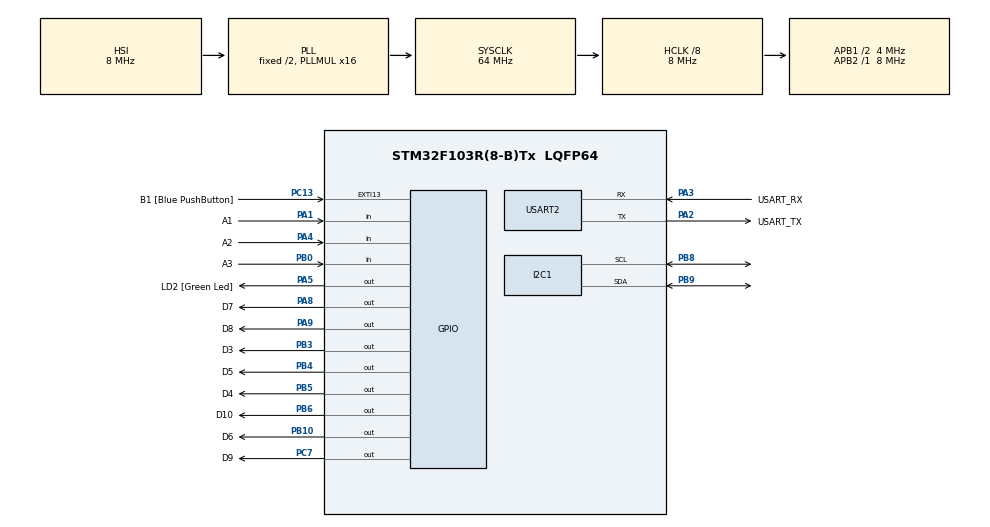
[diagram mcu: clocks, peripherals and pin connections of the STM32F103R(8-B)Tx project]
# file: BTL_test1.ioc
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Dma.I2C1_RX.1.Direction=DMA_PERIPH_TO_MEMORY
Dma.I2C1_RX.1.Instance=DMA1_Channel7
Dma.I2C1_RX.1.MemDataAlignment=DMA_MDATAALIGN_BYTE
Dma.I2C1_RX.1.MemInc=DMA_MINC_ENABLE
Dma.I2C1_RX.1.Mode=DMA_NORMAL
Dma.I2C1_RX.1.PeriphDataAlignment=DMA_PDATAALIGN_BYTE
Dma.I2C1_RX.1.PeriphInc=DMA_PINC_DISABLE
Dma.I2C1_RX.1.Priority=DMA_PRIORITY_LOW
Dma.I2C1_TX.0.Direction=DMA_MEMORY_TO_PERIPH
Dma.I2C1_TX.0.Instance=DMA1_Channel6
Dma.I2C1_TX.0.MemDataAlignment=DMA_MDATAALIGN_BYTE
Dma.I2C1_TX.0.MemInc=DMA_MINC_ENABLE
Dma.I2C1_TX.0.Mode=DMA_NORMAL
Dma.I2C1_TX.0.PeriphDataAlignment=DMA_PDATAALIGN_BYTE
Dma.I2C1_TX.0.PeriphInc=DMA_PINC_DISABLE
Dma.I2C1_TX.0.Priority=DMA_PRIORITY_LOW
Dma.Request0=I2C1_TX
Dma.Request1=I2C1_RX
Mcu.Family=STM32F1
Mcu.Name=STM32F103R(8-B)Tx
Mcu.Package=LQFP64
NVIC.DMA1_Channel6_IRQn=true\:0\:0\:false\:false\:true\:false\:true
NVIC.DMA1_Channel7_IRQn=true\:0\:0\:false\:false\:true\:false\:true
NVIC.EXTI15_10_IRQn=true\:0\:0\:false\:false\:true\:true\:true
NVIC.I2C1_ER_IRQn=true\:0\:0\:false\:false\:true\:true\:true
NVIC.I2C1_EV_IRQn=true\:0\:0\:false\:false\:true\:true\:true
NVIC.PriorityGroup=NVIC_PRIORITYGROUP_4
NVIC.TIM2_IRQn=true\:0\:0\:false\:false\:true\:true\:true
PA1.GPIO_Label=A1
PA1.GPIO_PuPd=GPIO_PULLUP
PA1.Signal=GPIO_Input
PA13.GPIO_Label=TMS
PA13.Mode=Serial_Wire
PA13.Signal=SYS_JTMS-SWDIO
PA14.GPIO_Label=TCK
PA14.Mode=Serial_Wire
PA14.Signal=SYS_JTCK-SWCLK
PA2.GPIO_Label=USART_TX
PA2.GPIO_Mode=GPIO_MODE_AF_PP
PA2.GPIO_PuPd=GPIO_NOPULL
PA2.GPIO_Speed=GPIO_SPEED_FREQ_LOW
PA2.Mode=Asynchronous
PA2.Signal=USART2_TX
PA3.GPIO_Label=USART_RX
PA3.GPIO_Mode=GPIO_MODE_AF_PP
PA3.GPIO_PuPd=GPIO_NOPULL
PA3.GPIO_Speed=GPIO_SPEED_FREQ_LOW
PA3.Mode=Asynchronous
PA3.Signal=USART2_RX
PA4.GPIO_Label=A2
PA4.GPIO_PuPd=GPIO_PULLUP
PA4.Signal=GPIO_Input
PA5.GPIO_Label=LD2 [Green Led]
PA5.GPIO_ModeDefaultOutputPP=GPIO_MODE_OUTPUT_PP
PA5.GPIO_PuPd=GPIO_NOPULL
PA5.GPIO_Speed=GPIO_SPEED_FREQ_LOW
PA5.Signal=GPIO_Output
PA8.GPIO_Label=D7
PA8.Signal=GPIO_Output
PA9.GPIO_Label=D8
PA9.Signal=GPIO_Output
PB0.GPIO_Label=A3
PB0.GPIO_PuPd=GPIO_PULLUP
PB0.Signal=GPIO_Input
PB10.GPIO_Label=D6
PB10.Signal=GPIO_Output
PB3.GPIO_Label=D3
PB3.Signal=GPIO_Output
PB4.GPIO_Label=D5
PB4.Signal=GPIO_Output
PB5.GPIO_Label=D4
PB5.Signal=GPIO_Output
PB6.GPIO_Label=D10
PB6.Signal=GPIO_Output
PB8.Mode=I2C
PB8.Signal=I2C1_SCL
PB9.Mode=I2C
PB9.Signal=I2C1_SDA
PC13-TAMPER-RTC.GPIO_Label=B1 [Blue PushButton]
PC13-TAMPER-RTC.GPIO_PuPd=GPIO_NOPULL
PC13-TAMPER-RTC.Signal=GPXTI13
PC14-OSC32_IN.Mode=LSE-External-Oscillator
PC14-OSC32_IN.Signal=RCC_OSC32_IN
PC15-OSC32_OUT.Mode=LSE-External-Oscillator
PC15-OSC32_OUT.Signal=RCC_OSC32_OUT
PC7.GPIO_Label=D9
PC7.Signal=GPIO_Output
PD0-OSC_IN.Mode=HSE-External-Clock-Source
PD0-OSC_IN.Signal=RCC_OSC_IN
PD1-OSC_OUT.Mode=HSE-External-Clock-Source
PD1-OSC_OUT.Signal=RCC_OSC_OUT
ProjectManager.HeapSize=0x200
ProjectManager.StackSize=0x400
ProjectManager.TargetToolchain=STM32CubeIDE
RCC.AHBCLKDivider=RCC_SYSCLK_DIV8
RCC.AHBFreq_Value=8000000
RCC.APB1CLKDivider=RCC_HCLK_DIV2
RCC.APB1Freq_Value=4000000
RCC.APB1TimFreq_Value=8000000
RCC.APB2Freq_Value=8000000
RCC.APB2TimFreq_Value=8000000
RCC.HCLKFreq_Value=8000000
RCC.PLLMUL=RCC_PLL_MUL16
RCC.RTCClockSelection=RCC_RTCCLKSOURCE_LSE
RCC.SYSCLKFreq_VALUE=64000000
RCC.SYSCLKSource=RCC_SYSCLKSOURCE_PLLCLK
RCC.USBFreq_Value=64000000
TIM2.Period=9
TIM2.Prescaler=7999
USART2.VirtualMode=VM_ASYNC
VP_TIM2_VS_ClockSourceINT.Mode=Internal
board=NUCLEO-F103RB

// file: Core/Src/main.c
/* USER CODE BEGIN Header */
/**
  ******************************************************************************
  * @file           : main.c
  * @brief          : Main program body
  ******************************************************************************
  * @attention
  *
  * <h2><center>&copy; Copyright (c) 2024 STMicroelectronics.
  * All rights reserved.</center></h2>
  *
  * This software component is licensed by ST under BSD 3-Clause license,
  * the "License"; You may not use this file except in compliance with the
  * License. You may obtain a copy of the License at:
  *                        opensource.org/licenses/BSD-3-Clause
  *
  ******************************************************************************
  */
/* USER CODE END Header */
#include "main.h"

/* USER CODE BEGIN Includes */
#include "button.h"
#include "traffic_light.h"
#include "fsm_automatic.h"
#include "i2c_lcd.h"
#include "lcd_display.h"
#include "fsm_setting.h"
#include "fsm_manual.h"
#include "scheduler.h"
/* USER CODE END Includes */

I2C_HandleTypeDef hi2c1;
DMA_HandleTypeDef hdma_i2c1_tx;
DMA_HandleTypeDef hdma_i2c1_rx;

TIM_HandleTypeDef htim2;

UART_HandleTypeDef huart2;

void SystemClock_Config(void);
static void MX_GPIO_Init(void);
static void MX_USART2_UART_Init(void);
static void MX_DMA_Init(void);
static void MX_I2C1_Init(void);
static void MX_TIM2_Init(void);

int main(void)
{

  /* MCU Configuration--------------------------------------------------------*/

  /* Reset of all peripherals, Initializes the Flash interface and the Systick. */
  HAL_Init();

  /* Configure the system clock */
  SystemClock_Config();

  /* Initialize all configured peripherals */
  MX_GPIO_Init();
  MX_USART2_UART_Init();
  MX_DMA_Init();
  MX_I2C1_Init();
  MX_TIM2_Init();
  /* USER CODE BEGIN 2 */
  HAL_TIM_Base_Start_IT(&htim2);
  /* USER CODE END 2 */

  /* Infinite loop */
  /* USER CODE BEGIN WHILE */
  SCH_Init();
  lcd_init();
  //SCH_Add_Task(update7SEG, 1000, 250);
  //SCH_Add_Task(updateBuffer7SEG, 1000, 1000);

  //lcd_goto_XY(2, 0);
  //lcd_send_string("Hello!");
  SCH_Add_Task(fsm_automatic_run0, 1000, 0);
  SCH_Add_Task(fsm_automatic_run1, 1000, 0);
  SCH_Add_Task(updateBufferLCD, 1000, 1000);
  SCH_Add_Task(fsm_setting_run, 1000, 10);
  SCH_Add_Task(getKeyInput, 1000, 10);
  while (1)
  {
	  SCH_Dispatch_Tasks();
    /* USER CODE END WHILE */

  }
}

void SystemClock_Config(void)
{
  RCC_OscInitTypeDef RCC_OscInitStruct = {0};
  RCC_ClkInitTypeDef RCC_ClkInitStruct = {0};

  /** Initializes the RCC Oscillators according to the specified parameters
  * in the RCC_OscInitTypeDef structure.
  */
  RCC_OscInitStruct.OscillatorType = RCC_OSCILLATORTYPE_HSI;
  RCC_OscInitStruct.HSIState = RCC_HSI_ON;
  RCC_OscInitStruct.HSICalibrationValue = RCC_HSICALIBRATION_DEFAULT;
  RCC_OscInitStruct.PLL.PLLState = RCC_PLL_ON;
  RCC_OscInitStruct.PLL.PLLSource = RCC_PLLSOURCE_HSI_DIV2;
  RCC_OscInitStruct.PLL.PLLMUL = RCC_PLL_MUL16;
  if (HAL_RCC_OscConfig(&RCC_OscInitStruct) != HAL_OK)
  {
    Error_Handler();
  }
  /** Initializes the CPU, AHB and APB buses clocks
  */
  RCC_ClkInitStruct.ClockType = RCC_CLOCKTYPE_HCLK|RCC_CLOCKTYPE_SYSCLK
                              |RCC_CLOCKTYPE_PCLK1|RCC_CLOCKTYPE_PCLK2;
  RCC_ClkInitStruct.SYSCLKSource = RCC_SYSCLKSOURCE_PLLCLK;
  RCC_ClkInitStruct.AHBCLKDivider = RCC_SYSCLK_DIV8;
  RCC_ClkInitStruct.APB1CLKDivider = RCC_HCLK_DIV2;
  RCC_ClkInitStruct.APB2CLKDivider = RCC_HCLK_DIV1;

  if (HAL_RCC_ClockConfig(&RCC_ClkInitStruct, FLASH_LATENCY_2) != HAL_OK)
  {
    Error_Handler();
  }
}

static void MX_I2C1_Init(void)
{

  hi2c1.Instance = I2C1;
  hi2c1.Init.ClockSpeed = 100000;
  hi2c1.Init.DutyCycle = I2C_DUTYCYCLE_2;
  hi2c1.Init.OwnAddress1 = 0;
  hi2c1.Init.AddressingMode = I2C_ADDRESSINGMODE_7BIT;
  hi2c1.Init.DualAddressMode = I2C_DUALADDRESS_DISABLE;
  hi2c1.Init.OwnAddress2 = 0;
  hi2c1.Init.GeneralCallMode = I2C_GENERALCALL_DISABLE;
  hi2c1.Init.NoStretchMode = I2C_NOSTRETCH_DISABLE;
  if (HAL_I2C_Init(&hi2c1) != HAL_OK)
  {
    Error_Handler();
  }

}

static void MX_TIM2_Init(void)
{

  TIM_ClockConfigTypeDef sClockSourceConfig = {0};
  TIM_MasterConfigTypeDef sMasterConfig = {0};

  htim2.Instance = TIM2;
  htim2.Init.Prescaler = 7999;
  htim2.Init.CounterMode = TIM_COUNTERMODE_UP;
  htim2.Init.Period = 9;
  htim2.Init.ClockDivision = TIM_CLOCKDIVISION_DIV1;
  htim2.Init.AutoReloadPreload = TIM_AUTORELOAD_PRELOAD_DISABLE;
  if (HAL_TIM_Base_Init(&htim2) != HAL_OK)
  {
    Error_Handler();
  }
  sClockSourceConfig.ClockSource = TIM_CLOCKSOURCE_INTERNAL;
  if (HAL_TIM_ConfigClockSource(&htim2, &sClockSourceConfig) != HAL_OK)
  {
    Error_Handler();
  }
  sMasterConfig.MasterOutputTrigger = TIM_TRGO_RESET;
  sMasterConfig.MasterSlaveMode = TIM_MASTERSLAVEMODE_DISABLE;
  if (HAL_TIMEx_MasterConfigSynchronization(&htim2, &sMasterConfig) != HAL_OK)
  {
    Error_Handler();
  }

}

static void MX_USART2_UART_Init(void)
{

  huart2.Instance = USART2;
  huart2.Init.BaudRate = 115200;
  huart2.Init.WordLength = UART_WORDLENGTH_8B;
  huart2.Init.StopBits = UART_STOPBITS_1;
  huart2.Init.Parity = UART_PARITY_NONE;
  huart2.Init.Mode = UART_MODE_TX_RX;
  huart2.Init.HwFlowCtl = UART_HWCONTROL_NONE;
  huart2.Init.OverSampling = UART_OVERSAMPLING_16;
  if (HAL_UART_Init(&huart2) != HAL_OK)
  {
    Error_Handler();
  }

}

static void MX_DMA_Init(void)
{

  /* DMA controller clock enable */
  __HAL_RCC_DMA1_CLK_ENABLE();

  /* DMA interrupt init */
  /* DMA1_Channel6_IRQn interrupt configuration */
  HAL_NVIC_SetPriority(DMA1_Channel6_IRQn, 0, 0);
  HAL_NVIC_EnableIRQ(DMA1_Channel6_IRQn);
  /* DMA1_Channel7_IRQn interrupt configuration */
  HAL_NVIC_SetPriority(DMA1_Channel7_IRQn, 0, 0);
  HAL_NVIC_EnableIRQ(DMA1_Channel7_IRQn);

}

static void MX_GPIO_Init(void)
{
  GPIO_InitTypeDef GPIO_InitStruct = {0};

  /* GPIO Ports Clock Enable */
  __HAL_RCC_GPIOC_CLK_ENABLE();
  __HAL_RCC_GPIOD_CLK_ENABLE();
  __HAL_RCC_GPIOA_CLK_ENABLE();
  __HAL_RCC_GPIOB_CLK_ENABLE();

  /*Configure GPIO pin Output Level */
  HAL_GPIO_WritePin(GPIOA, LD2_Pin|D7_Pin|D8_Pin, GPIO_PIN_RESET);

  /*Configure GPIO pin Output Level */
  HAL_GPIO_WritePin(GPIOB, D6_Pin|D3_Pin|D5_Pin|D4_Pin
                          |D10_Pin, GPIO_PIN_RESET);

  /*Configure GPIO pin Output Level */
  HAL_GPIO_WritePin(D9_GPIO_Port, D9_Pin, GPIO_PIN_RESET);

  /*Configure GPIO pin : B1_Pin */
  GPIO_InitStruct.Pin = B1_Pin;
  GPIO_InitStruct.Mode = GPIO_MODE_IT_RISING;
  GPIO_InitStruct.Pull = GPIO_NOPULL;
  HAL_GPIO_Init(B1_GPIO_Port, &GPIO_InitStruct);

  /*Configure GPIO pins : A1_Pin A2_Pin */
  GPIO_InitStruct.Pin = A1_Pin|A2_Pin;
  GPIO_InitStruct.Mode = GPIO_MODE_INPUT;
  GPIO_InitStruct.Pull = GPIO_PULLUP;
  HAL_GPIO_Init(GPIOA, &GPIO_InitStruct);

  /*Configure GPIO pins : LD2_Pin D7_Pin D8_Pin */
  GPIO_InitStruct.Pin = LD2_Pin|D7_Pin|D8_Pin;
  GPIO_InitStruct.Mode = GPIO_MODE_OUTPUT_PP;
  GPIO_InitStruct.Pull = GPIO_NOPULL;
  GPIO_InitStruct.Speed = GPIO_SPEED_FREQ_LOW;
  HAL_GPIO_Init(GPIOA, &GPIO_InitStruct);

  /*Configure GPIO pin : A3_Pin */
  GPIO_InitStruct.Pin = A3_Pin;
  GPIO_InitStruct.Mode = GPIO_MODE_INPUT;
  GPIO_InitStruct.Pull = GPIO_PULLUP;
  HAL_GPIO_Init(A3_GPIO_Port, &GPIO_InitStruct);

  /*Configure GPIO pins : D6_Pin D3_Pin D5_Pin D4_Pin
                           D10_Pin */
  GPIO_InitStruct.Pin = D6_Pin|D3_Pin|D5_Pin|D4_Pin
                          |D10_Pin;
  GPIO_InitStruct.Mode = GPIO_MODE_OUTPUT_PP;
  GPIO_InitStruct.Pull = GPIO_NOPULL;
  GPIO_InitStruct.Speed = GPIO_SPEED_FREQ_LOW;
  HAL_GPIO_Init(GPIOB, &GPIO_InitStruct);

  /*Configure GPIO pin : D9_Pin */
  GPIO_InitStruct.Pin = D9_Pin;
  GPIO_InitStruct.Mode = GPIO_MODE_OUTPUT_PP;
  GPIO_InitStruct.Pull = GPIO_NOPULL;
  GPIO_InitStruct.Speed = GPIO_SPEED_FREQ_LOW;
  HAL_GPIO_Init(D9_GPIO_Port, &GPIO_InitStruct);

  /* EXTI interrupt init*/
  HAL_NVIC_SetPriority(EXTI15_10_IRQn, 0, 0);
  HAL_NVIC_EnableIRQ(EXTI15_10_IRQn);

}

/* USER CODE BEGIN 4 */
void HAL_TIM_PeriodElapsedCallback(TIM_HandleTypeDef *htim){
	SCH_Update();
}
/* USER CODE END 4 */

void Error_Handler(void)
{
  __disable_irq();
  while (1)
  {
  }
}

/************************ (C) COPYRIGHT STMicroelectronics *****END OF FILE****/
